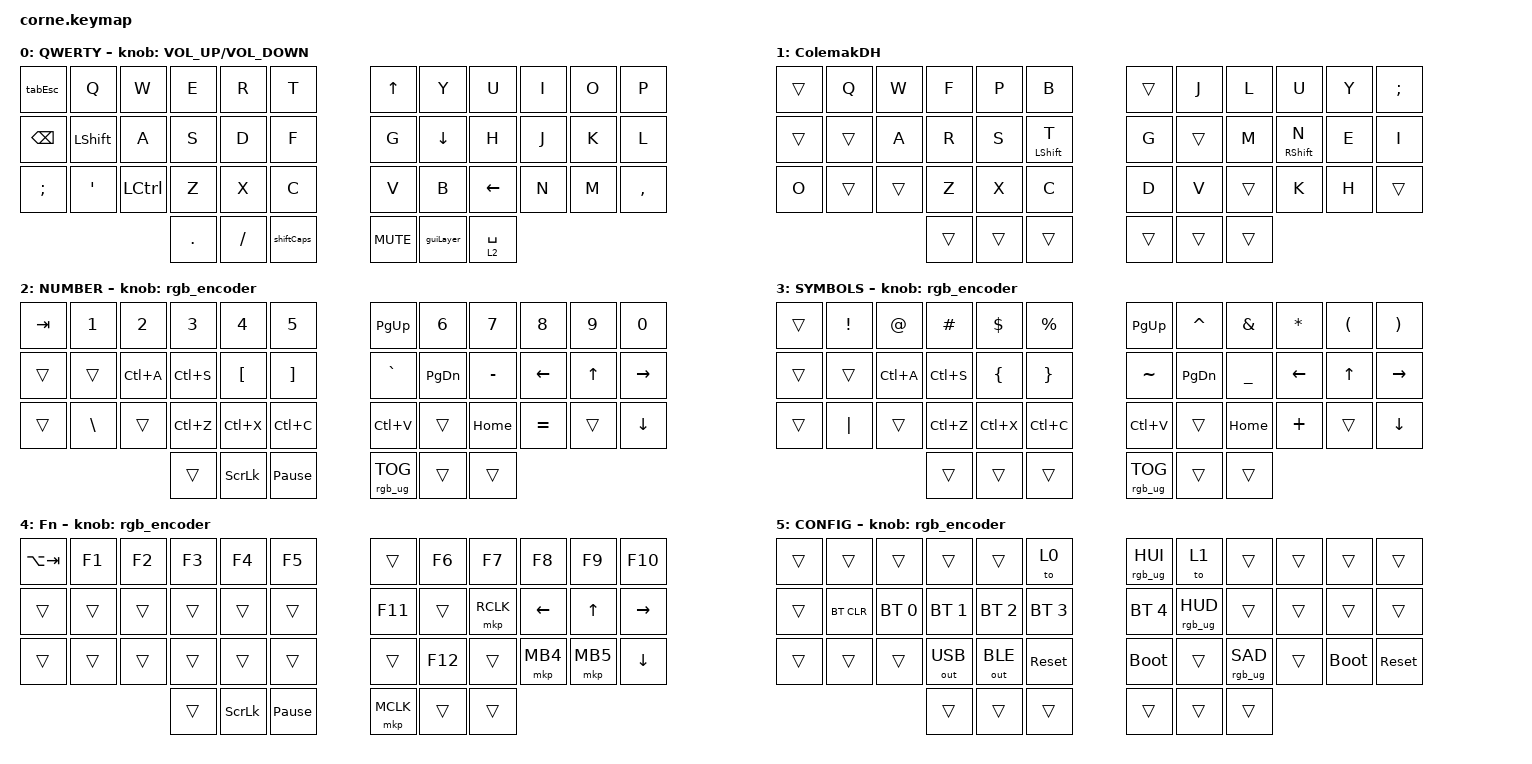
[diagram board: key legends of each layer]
#include <dt-bindings/zmk/mouse.h>
#include <behaviors.dtsi>
#include <dt-bindings/zmk/bt.h>
#include <dt-bindings/zmk/keys.h>
#include <dt-bindings/zmk/outputs.h>
#include <dt-bindings/zmk/pointing.h>
#include <dt-bindings/zmk/rgb.h>

/ {
    behaviors {
        shiftCaps: shiftCaps {
            compatible = "zmk,behavior-tap-dance";
            label = "SHIFTCAPS";
            #binding-cells = <0>;
            bindings = <&kp LEFT_SHIFT>, <&kp CAPS>;
        };

        tabEsc: tabEsc {
            compatible = "zmk,behavior-tap-dance";
            label = "TABESC";
            #binding-cells = <0>;
            bindings = <&kp TAB>, <&kp ESC>;
        };

        hm: hm {
            compatible = "zmk,behavior-hold-tap";
            label = "HM";
            bindings = <&kp>, <&kp>;

            #binding-cells = <2>;
            tapping-term-ms = <200>;
            flavor = "hold-preferred";
            hold-while-undecided;
            hold-while-undecided-linger;
        };

        hml: hml {
            compatible = "zmk,behavior-hold-tap";
            label = "HML";
            bindings = <&kp>, <&kp>;

            #binding-cells = <2>;
            tapping-term-ms = <200>;
            hold-trigger-key-positions = <7 8 9 10 11 12 20 21 22 23 24 25 33 34 35 36 37 38 45 44 46>;
            flavor = "tap-unless-interrupted";
        };

        hmr: hmr {
            compatible = "zmk,behavior-hold-tap";
            label = "HMR";
            bindings = <&kp>, <&kp>;

            #binding-cells = <2>;
            tapping-term-ms = <200>;
            hold-trigger-key-positions = <0 1 2 4 13 14 15 16 17 26 27 28 29 30 3 5 18 31 40 41 42>;
            flavor = "tap-unless-interrupted";
        };

        guiLayer: guiLayer {
            compatible = "zmk,behavior-tap-dance";
            label = "GUILAYER";
            #binding-cells = <0>;
            bindings = <&mo 3>, <&kp LEFT_GUI>;
        };
    };

    rgb_encoder: rgb_encoder {
        compatible = "zmk,behavior-sensor-rotate";
        label = "RGB_ENCODER";
        #sensor-binding-cells = <0>;
        bindings = <&rgb_ug RGB_BRI>, <&rgb_ug RGB_BRD>;
    };

    combos { compatible = "zmk,combos"; };

    keymap {
        compatible = "zmk,keymap";

        default_layer {
            display-name = "QWERTY";

            // --------------------------------------------------------------------------------
            // |  TAB |  Q  |  W  |  E  |  R  |  T  |                ↑    |  Y  |  U   |  I  |  O  |  P  | BKSP |      &kp UP_ARROW 
            // | SHIFT |  A  |  S  |  D  |  F  |  G  |               ↓    |  H  |  J   |  K  |  L  |  ;  |  '   | 
            // | CTRL |  Z  |  X  |  C  |  V  |  B  |                ←    |  N  |  M   |  ,  |  .  |  /  | ESC  |
            //                    | GUI | LWR | SPC |                →    | ENT | RSE  | ALT |
            //                                                      enter

            bindings = <
&tabEsc   &kp Q           &kp W      &kp E    &kp R     &kp T         &kp UP_ARROW  &kp Y           &kp U           &kp I  &kp O  &kp P
&kp BSPC  &kp LEFT_SHIFT  &kp A      &kp S    &kp D     &kp F         &kp G         &kp DOWN_ARROW  &kp H           &kp J  &kp K  &kp L
&kp SEMI  &kp SQT         &kp LCTRL  &kp Z    &kp X     &kp C         &kp V         &kp B           &kp LEFT_ARROW  &kp N  &kp M  &kp COMMA
                                     &kp DOT  &kp FSLH  &shiftCaps    &kp C_MUTE    &guiLayer       &lt 2 SPACE
            >;

            label = "QWERTY";
            sensor-bindings = <&inc_dec_kp C_VOLUME_UP C_VOLUME_DOWN>;
        };

        ColemakDH {
            bindings = <
&trans  &kp Q   &kp W   &kp F   &kp P   &kp B                &trans  &kp J   &kp L   &kp U               &kp Y  &kp SEMI
&trans  &trans  &kp A   &kp R   &kp S   &hml LEFT_SHIFT T    &kp G   &trans  &kp M   &hmr RIGHT_SHIFT N  &kp E  &kp I
&kp O   &trans  &trans  &kp Z   &kp X   &kp C                &kp D   &kp V   &trans  &kp K               &kp H  &trans
                        &trans  &trans  &trans               &trans  &trans  &trans
            >;

            label = "ColemakDH";
        };

        Number {
            display-name = "NUMBER";

            // -----------------------------------------------------------------------------------------
            // |  TAB |  1  |  2  |  3  |  4  |  5  |   |  6  |  7  |  8  |  9  |  0  | BKSP |
            // | BTCLR| BT1 | BT2 | BT3 | BT4 | BT5 |   | LFT | DWN |  UP | RGT |     |      |
            // | SHFT |     |     |     |     |     |   |     |     |     |     |     |      |
            //                    | GUI |     | SPC |   | ENT |     | ALT |

            bindings = <
&kp TAB  &kp N1         &kp N2     &kp N3     &kp N4            &kp N5               &kp PAGE_UP      &kp N6         &kp N7     &kp N8     &kp N9  &kp N0
&trans   &trans         &kp LC(A)  &kp LC(S)  &kp LEFT_BRACKET  &kp RIGHT_BRACKET    &kp GRAVE        &kp PAGE_DOWN  &kp MINUS  &kp LEFT   &kp UP  &kp RIGHT
&trans   &kp BACKSLASH  &trans     &kp LC(Z)  &kp LC(X)         &kp LC(C)            &kp LC(V)        &trans         &kp HOME   &kp EQUAL  &trans  &kp DOWN
                                   &trans     &kp SCROLLLOCK    &kp PAUSE_BREAK      &rgb_ug RGB_TOG  &trans         &trans
            >;

            label = "NUMBER";
            sensor-bindings = <&rgb_encoder>;
        };

        SYMBOLS {
            bindings = <
&trans  &kp EXCLAMATION  &kp AT_SIGN  &kp HASH   &kp DOLLAR      &kp PERCENT        &kp PAGE_UP      &kp CARET      &kp AMPERSAND  &kp ASTERISK  &kp LEFT_PARENTHESIS  &kp RIGHT_PARENTHESIS
&trans  &trans           &kp LC(A)    &kp LC(S)  &kp LEFT_BRACE  &kp RIGHT_BRACE    &kp TILDE        &kp PAGE_DOWN  &kp UNDER      &kp LEFT      &kp UP_ARROW          &kp RIGHT
&trans  &kp PIPE         &trans       &kp LC(Z)  &kp LC(X)       &kp LC(C)          &kp LC(V)        &trans         &kp HOME       &kp PLUS      &trans                &kp DOWN_ARROW
                                      &trans     &trans          &trans             &rgb_ug RGB_TOG  &trans         &trans
            >;

            label = "SYMBOLS";
            sensor-bindings = <&rgb_encoder>;
        };

        Fn {
            display-name = "Fn";
            bindings = <
&kp LA(TAB)  &kp F1  &kp F2  &kp F3  &kp F4          &kp F5             &trans     &kp F6   &kp F7     &kp F8    &kp F9    &kp F10
&trans       &trans  &trans  &trans  &trans          &trans             &kp F11    &trans   &mkp RCLK  &kp LEFT  &kp UP    &kp RIGHT
&trans       &trans  &trans  &trans  &trans          &trans             &trans     &kp F12  &trans     &mkp MB4  &mkp MB5  &kp DOWN
                             &trans  &kp SCROLLLOCK  &kp PAUSE_BREAK    &mkp MCLK  &trans   &trans
            >;

            label = "FN";
            sensor-bindings = <&rgb_encoder>;
        };

        CONFIG {
            display-name = "CONFIG";

            // -----------------------------------------------------------------------------------------
            // |  TAB |  !  |  @  |  #  |  $  |  %  |   |  ^  |  &  |  *  |  (  |  )  | BKSP |
            // | CTRL |     |     |     |     |     |   |  -  |  =  |  [  |  ]  |  \  |  `   |
            // | SHFT |     |     |     |     |     |   |  _  |  +  |  {  |  }  | "|" |  ~   |
            //                    | GUI |     | SPC |   | ENT |     | ALT |

            bindings = <
&trans  &trans      &trans        &trans        &trans        &to 0           &rgb_ug RGB_HUI  &to 1            &trans           &trans  &trans       &trans
&trans  &bt BT_CLR  &bt BT_SEL 0  &bt BT_SEL 1  &bt BT_SEL 2  &bt BT_SEL 3    &bt BT_SEL 4     &rgb_ug RGB_HUD  &trans           &trans  &trans       &trans
&trans  &trans      &trans        &out OUT_USB  &out OUT_BLE  &sys_reset      &bootloader      &trans           &rgb_ug RGB_SAD  &trans  &bootloader  &sys_reset
                                  &trans        &trans        &trans          &trans           &trans           &trans
            >;

            sensor-bindings = <&rgb_encoder>;
        };

        layer_1 { status = "reserved"; };

        layer_2 { status = "reserved"; };

        layer_3 { status = "reserved"; };

        starcraft { status = "reserved"; };

        layer_5 { status = "reserved"; };
    };

    conditional_layers {
        compatible = "zmk,conditional-layers";

        ConfigTrigger1 {
            if-layers = <2 4>;
            then-layer = <5>;
        };

        ConfigTrigger2 {
            if-layers = <2 3>;
            then-layer = <5>;
        };

        ConfigTrigger3 {
            if-layers = <3 4>;
            then-layer = <5>;
        };
    };
};
